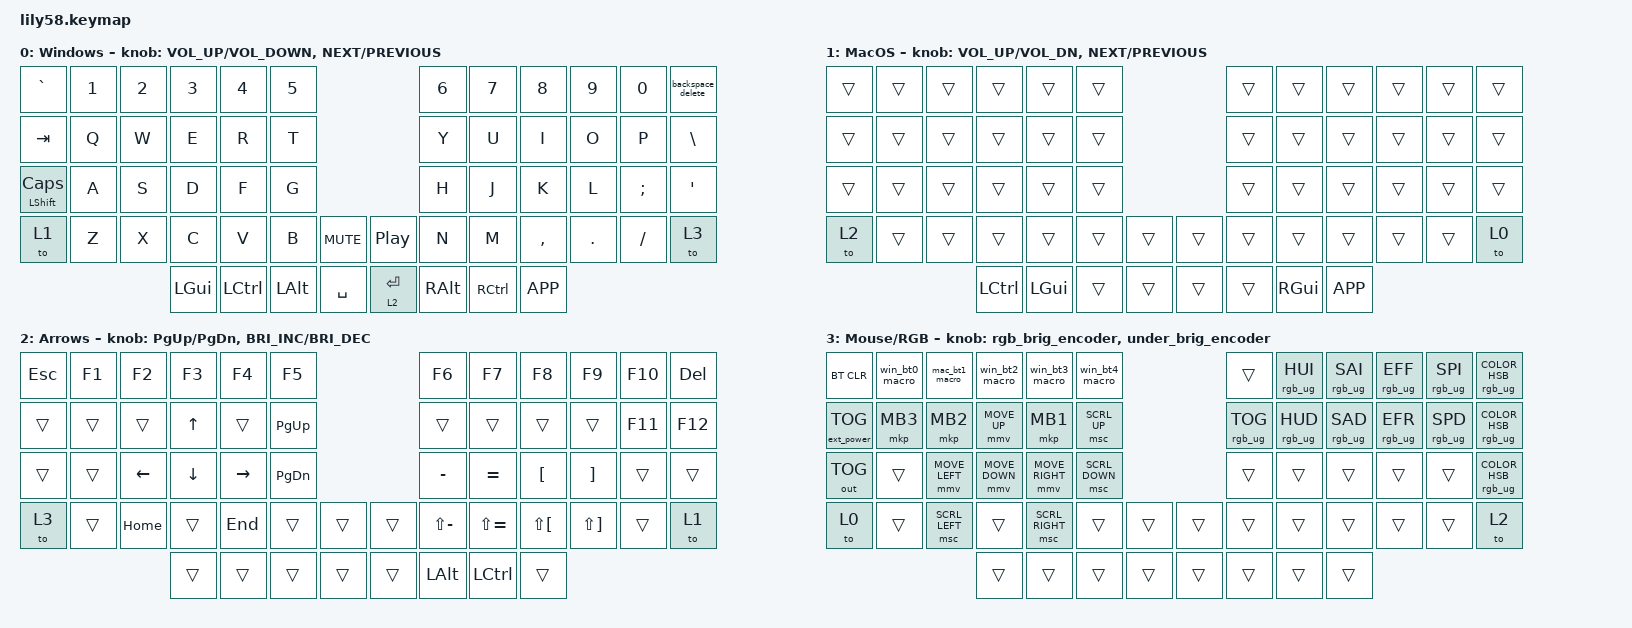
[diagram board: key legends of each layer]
/*
 * Copyright (c) 2020 The ZMK Contributors
 *
 * SPDX-License-Identifier: MIT
 */

#include <behaviors.dtsi>
#include <dt-bindings/zmk/keys.h>
#include <dt-bindings/zmk/bt.h>
#include <dt-bindings/zmk/ext_power.h>
#include <dt-bindings/zmk/backlight.h>
#include <dt-bindings/zmk/outputs.h>
#include <dt-bindings/zmk/pointing.h>
#include <dt-bindings/zmk/rgb.h>

/ {
    conditional_layers { compatible = "zmk,conditional-layers"; };

    behaviors {
        backspace_delete: backspace_delete {
            compatible = "zmk,behavior-mod-morph";
            label = "BACKSPACE_DELETE";
            bindings = <&kp BSPC>, <&kp DELETE>;

            #binding-cells = <0>;
            mods = <(MOD_LSFT|MOD_RSFT)>;
        };

        under_brig_encoder: under_brig_encoder {
            compatible = "zmk,behavior-sensor-rotate";
            label = "UNDER_BRIG_ENCODER";
            #sensor-binding-cells = <0>;
            bindings = <&rgb_ug RGB_BRI>, <&rgb_ug RGB_BRD>;
        };

        rgb_brig_encoder: rgb_brig_encoder {
            compatible = "zmk,behavior-sensor-rotate";
            label = "RGB_BRIG_ENCODER";
            #sensor-binding-cells = <0>;
            bindings = <&bl BL_INC>, <&bl BL_DEC>;
        };

        hold_tap_layer: hold_tap_layer {
            compatible = "zmk,behavior-hold-tap";
            label = "HOLD_TAP_LAYER";
            bindings = <&mo>, <&kp>;

            #binding-cells = <2>;
            tapping-term-ms = <150>;
        };

        turn_off_layer: turn_off_layer {
            compatible = "zmk,behavior-toggle-layer";
            label = "TURN_OFF_LAYER";
            #binding-cells = <1>;
            toggle-mode = "off";
        };

        turn_on_layer: turn_on_layer {
            compatible = "zmk,behavior-toggle-layer";
            label = "TURN_ON_LAYER";
            #binding-cells = <1>;
        };
    };

    combos {
        compatible = "zmk,combos";

        CB_LShift {
            bindings = <&kp LSHIFT>;
            key-positions = <28 27>;
        };

        CB_RShift {
            bindings = <&kp RSHIFT>;
            key-positions = <31 32>;
        };

        CB {
            bindings = <&mo 3>;
            key-positions = <19 20 21>;
        };

        CB_l2 {
            bindings = <&kp ESC>;
            key-positions = <14 15 16>;
        };
    };

    macros {
        mac_bt1_macro: mac_bt1_macro {
            compatible = "zmk,behavior-macro";
            #binding-cells = <0>;
            bindings = <&bt BT_SEL 1 &to 1 &rgb_ug RGB_COLOR_HSB(268,100,31)>;
            label = "MAC_BT1_MACRO";
        };

        win_bt0_macro: win_bt0_macro {
            compatible = "zmk,behavior-macro";
            #binding-cells = <0>;
            bindings = <&bt BT_SEL 0 &to 0 &rgb_ug RGB_COLOR_HSB(0,100,50)>;
            label = "WIN_BT0_MACRO";
        };

        win_bt2_macro: win_bt2_macro {
            compatible = "zmk,behavior-macro";
            #binding-cells = <0>;
            bindings = <&bt BT_SEL 2 &to 0 &rgb_ug RGB_COLOR_HSB(235,100,50)>;
            label = "WIN_BT2_MACRO";
        };

        win_bt3_macro: win_bt3_macro {
            compatible = "zmk,behavior-macro";
            #binding-cells = <0>;
            bindings = <&bt BT_SEL 3 &to 0 &rgb_ug RGB_COLOR_HSB(116,100,50)>;
            label = "WIN_BT3_MACRO";
        };

        win_bt4_macro: win_bt4_macro {
            compatible = "zmk,behavior-macro";
            #binding-cells = <0>;
            bindings = <&bt BT_SEL 4 &to 0 &rgb_ug RGB_COLOR_HSB(66,100,50)>;
            label = "WIN_BT4_MACRO";
        };
    };

    keymap {
        compatible = "zmk,keymap";

        Windows {
            // ------------------------------------------------------------------------------------------------------------
            // |  ESC  |  1  |  2  |  3   |  4   |  5   |                   |  6   |  7    |  8    |  9   |   0   |   `   |
            // |  TAB  |  Q  |  W  |  E   |  R   |  T   |                   |  Y   |  U    |  I    |  O   |   P   |   -   |
            // |  CTRL |  A  |  S  |  D   |  F   |  G   |                   |  H   |  J    |  K    |  L   |   ;   |   '   |
            // | SHIFT |  Z  |  X  |  C   |  V   |  B   |  MUTE  |  |RGB_TOG|  N   |  M    |  ,    |  .   |   /   | SHIFT |
            //                     | ALT  | GUI  | LOWER|  SPACE |  | ENTER | RAISE| BSPC  | GUI   |

            bindings = <
&kp GRAVE        &kp N1  &kp N2  &kp N3        &kp N4     &kp N5                                             &kp N6         &kp N7     &kp N8     &kp N9   &kp N0    &backspace_delete
&kp TAB          &kp Q   &kp W   &kp E         &kp R      &kp T                                              &kp Y          &kp U      &kp I      &kp O    &kp P     &kp BACKSLASH
&mt LSHIFT CLCK  &kp A   &kp S   &kp D         &kp F      &kp G                                              &kp H          &kp J      &kp K      &kp L    &kp SEMI  &kp SINGLE_QUOTE
&to 1            &kp Z   &kp X   &kp C         &kp V      &kp B         &kp C_MUTE    &kp C_PLAY_PAUSE       &kp N          &kp M      &kp COMMA  &kp DOT  &kp FSLH  &to 3
                                 &kp LEFT_GUI  &kp LCTRL  &kp LEFT_ALT  &kp SPACE     &hold_tap_layer 2 RET  &kp RIGHT_ALT  &kp RCTRL  &kp K_APP
            >;

            sensor-bindings =
                <&inc_dec_kp C_VOLUME_UP C_VOLUME_DOWN>,
                <&inc_dec_kp C_NEXT C_PREVIOUS>;

            label = "Windows";
        };

        MacOS {
            label = "MacOS";
            bindings = <
&trans  &trans  &trans  &trans     &trans    &trans                    &trans  &trans    &trans     &trans  &trans  &trans
&trans  &trans  &trans  &trans     &trans    &trans                    &trans  &trans    &trans     &trans  &trans  &trans
&trans  &trans  &trans  &trans     &trans    &trans                    &trans  &trans    &trans     &trans  &trans  &trans
&to 2   &trans  &trans  &trans     &trans    &trans  &trans    &trans  &trans  &trans    &trans     &trans  &trans  &to 0
                        &kp LCTRL  &kp LGUI  &trans  &trans    &trans  &trans  &kp RGUI  &kp K_APP
            >;

            sensor-bindings =
                <&inc_dec_kp C_VOL_UP C_VOL_DN>,
                <&inc_dec_kp C_NEXT C_PREVIOUS>;
        };

        arrow_symbols {
            // ------------------------------------------------------------------------------------------------------------
            // | BTCLR | BT1 | BT2 |  BT3 |  BT4 |  BT5 |                   |      |       |       |      |       |       |
            // |  F1   |  F2 |  F3 |  F4  |  F5  |  F6  |                   |  F7  |  F8   |  F9   |  F10 |  F11  |  F12  |
            // |   `   |  !  |  @  |  #   |  $   |  %   |                   |  ^   |  &    |  *    |  (   |   )   |   ~   |
            // |EXTPWR |     |     |      |      |      |        |  |       |      |  _    |  +    |  {   |   }   |  "|"  |
            //                     |      |      |      |        |  |       |      |       |       |

            bindings = <
&kp ESC  &kp F1  &kp F2          &kp F3          &kp F4           &kp F5                           &kp F6         &kp F7         &kp F8                &kp F9                 &kp F10  &kp DELETE
&trans   &trans  &trans          &kp UP_ARROW    &trans           &kp PAGE_UP                      &trans         &trans         &trans                &trans                 &kp F11  &kp F12
&trans   &trans  &kp LEFT_ARROW  &kp DOWN_ARROW  &kp RIGHT_ARROW  &kp PAGE_DOWN                    &kp MINUS      &kp EQUAL      &kp LEFT_BRACKET      &kp RIGHT_BRACKET      &trans   &trans
&to 3    &trans  &kp HOME        &trans          &kp END          &trans         &trans    &trans  &kp LS(MINUS)  &kp LS(EQUAL)  &kp LS(LEFT_BRACKET)  &kp LS(RIGHT_BRACKET)  &trans   &to 1
                                 &trans          &trans           &trans         &trans    &trans  &kp LEFT_ALT   &kp LCTRL      &trans
            >;

            sensor-bindings =
                <&inc_dec_kp PAGE_UP PAGE_DOWN>,
                <&inc_dec_kp C_BRIGHTNESS_INC C_BRIGHTNESS_DEC>;

            label = "Arrows";
        };

        adjust_layer {
            // ----------------------------------------------------------------------------------------------------------------------------
            // | BTCLR  |  BT1    |  BT2    |   BT3   |   BT4   |   BT5   |                  |      |      |       |      |       |       |
            // | EXTPWR | RGB_HUD | RGB_HUI | RGB_SAD | RGB_SAI | RGB_EFF |                  |      |      |       |      |       |       |
            // |        | RGB_BRD | RGB_BRI |         |         |         |                  |      |      |       |      |       |       |
            // |        |         |         |         |         |         | RGB_TOG | |      |      |      |       |      |       |       |
            //                    |         |         |         |         |         | |      |      |      |       |      |

            bindings = <
&bt BT_CLR         &win_bt0_macro  &mac_bt1_macro  &win_bt2_macro  &win_bt3_macro   &win_bt4_macro                    &trans           &rgb_ug RGB_HUI  &rgb_ug RGB_SAI  &rgb_ug RGB_EFF  &rgb_ug RGB_SPI  &rgb_ug RGB_COLOR_HSB(0,94,50)
&ext_power EP_TOG  &mkp MB3        &mkp MB2        &mmv MOVE_UP    &mkp MB1         &msc SCRL_UP                      &rgb_ug RGB_TOG  &rgb_ug RGB_HUD  &rgb_ug RGB_SAD  &rgb_ug RGB_EFR  &rgb_ug RGB_SPD  &rgb_ug RGB_COLOR_HSB(280,100,50)
&out OUT_TOG       &trans          &mmv MOVE_LEFT  &mmv MOVE_DOWN  &mmv MOVE_RIGHT  &msc SCRL_DOWN                    &trans           &trans           &trans           &trans           &trans           &rgb_ug RGB_COLOR_HSB(0,0,100)
&to 0              &trans          &msc SCRL_LEFT  &trans          &msc SCRL_RIGHT  &trans          &trans    &trans  &trans           &trans           &trans           &trans           &trans           &to 2
                                                   &trans          &trans           &trans          &trans    &trans  &trans           &trans           &trans
            >;

            sensor-bindings = <&rgb_brig_encoder>, <&under_brig_encoder>;

            label = "Mouse/RGB";
        };
    };
};

